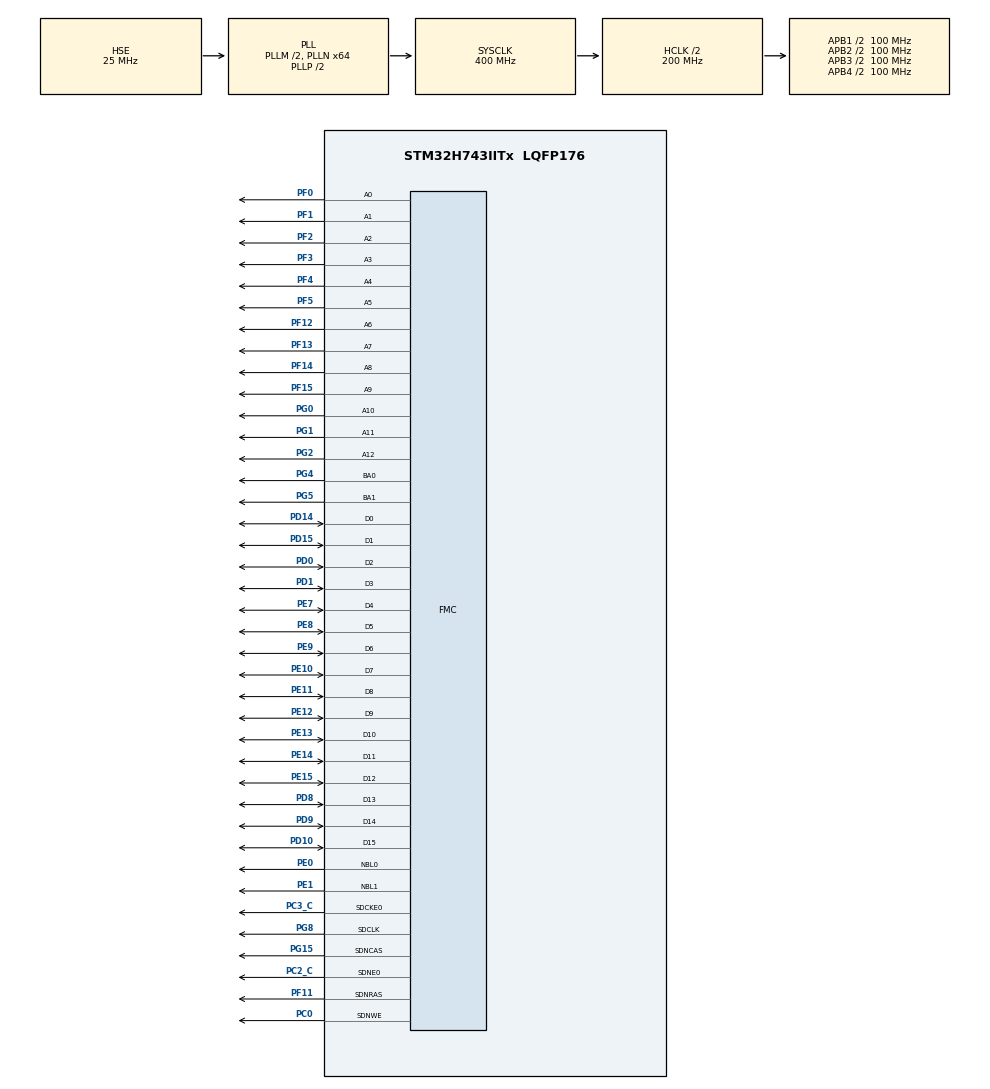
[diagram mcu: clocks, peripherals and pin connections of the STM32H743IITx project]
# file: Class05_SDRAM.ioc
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FMC.CASLatency1=FMC_SDRAM_CAS_LATENCY_2
FMC.ColumnBitsNumber1=FMC_SDRAM_COLUMN_BITS_NUM_9
FMC.ExitSelfRefreshDelay1=8
FMC.LoadToActiveDelay1=2
FMC.RCDDelay1=2
FMC.RPDelay1=2
FMC.RPDelay2=2
FMC.ReadBurst1=FMC_SDRAM_RBURST_ENABLE
FMC.ReadBurst2=FMC_SDRAM_RBURST_ENABLE
FMC.ReadPipeDelay1=FMC_SDRAM_RPIPE_DELAY_1
FMC.ReadPipeDelay2=FMC_SDRAM_RPIPE_DELAY_1
FMC.RowCycleDelay1=6
FMC.RowCycleDelay2=6
FMC.SDClockPeriod1=FMC_SDRAM_CLOCK_PERIOD_2
FMC.SDClockPeriod2=FMC_SDRAM_CLOCK_PERIOD_2
FMC.SelfRefreshTime1=6
FMC.WriteRecoveryTime1=4
Mcu.Family=STM32H7
Mcu.Name=STM32H743IITx
Mcu.Package=LQFP176
NVIC.PriorityGroup=NVIC_PRIORITYGROUP_4
PC0.Signal=FMC_SDNWE
PC14-OSC32_IN.Mode=LSE-External-Oscillator
PC14-OSC32_IN.Signal=RCC_OSC32_IN
PC15-OSC32_OUT.Mode=LSE-External-Oscillator
PC15-OSC32_OUT.Signal=RCC_OSC32_OUT
PC2_C.Mode=SdramChipSelect1_1
PC2_C.Signal=FMC_SDNE0
PC3_C.Mode=SdramChipSelect1_1
PC3_C.Signal=FMC_SDCKE0
PD0.Signal=FMC_D2_DA2
PD1.Signal=FMC_D3_DA3
PD10.Signal=FMC_D15_DA15
PD14.Signal=FMC_D0_DA0
PD15.Signal=FMC_D1_DA1
PD8.Signal=FMC_D13_DA13
PD9.Signal=FMC_D14_DA14
PE0.Signal=FMC_NBL0
PE1.Signal=FMC_NBL1
PE10.Signal=FMC_D7_DA7
PE11.Signal=FMC_D8_DA8
PE12.Signal=FMC_D9_DA9
PE13.Signal=FMC_D10_DA10
PE14.Signal=FMC_D11_DA11
PE15.Signal=FMC_D12_DA12
PE7.Signal=FMC_D4_DA4
PE8.Signal=FMC_D5_DA5
PE9.Signal=FMC_D6_DA6
PF0.Signal=FMC_A0
PF1.Signal=FMC_A1
PF11.Signal=FMC_SDNRAS
PF12.Signal=FMC_A6
PF13.Signal=FMC_A7
PF14.Signal=FMC_A8
PF15.Signal=FMC_A9
PF2.Signal=FMC_A2
PF3.Signal=FMC_A3
PF4.Signal=FMC_A4
PF5.Signal=FMC_A5
PG0.Signal=FMC_A10
PG1.Signal=FMC_A11
PG15.Signal=FMC_SDNCAS
PG2.Signal=FMC_A12
PG4.Signal=FMC_A14_BA0
PG5.Signal=FMC_A15_BA1
PG8.Signal=FMC_SDCLK
PH0-OSC_IN.Mode=HSE-External-Oscillator
PH0-OSC_IN.Signal=RCC_OSC_IN
PH1-OSC_OUT.Mode=HSE-External-Oscillator
PH1-OSC_OUT.Signal=RCC_OSC_OUT
ProjectManager.HeapSize=0x200
ProjectManager.StackSize=0x400
ProjectManager.TargetToolchain=MDK-ARM V5
RCC.ADCFreq_Value=50390625
RCC.APB1Freq_Value=100000000
RCC.APB2Freq_Value=100000000
RCC.APB3Freq_Value=100000000
RCC.APB4Freq_Value=100000000
RCC.CortexFreq_Value=400000000
RCC.D1PPRE=RCC_APB3_DIV2
RCC.D2PPRE1=RCC_APB1_DIV2
RCC.D2PPRE2=RCC_APB2_DIV2
RCC.D3PPRE=RCC_APB4_DIV2
RCC.DIVM1=2
RCC.DIVN1=64
RCC.HCLKFreq_Value=200000000
RCC.HPRE=RCC_HCLK_DIV2
RCC.PLLSourceVirtual=RCC_PLLSOURCE_HSE
RCC.SYSCLKFreq_VALUE=400000000
RCC.SYSCLKSource=RCC_SYSCLKSOURCE_PLLCLK
RCC.USBFreq_Value=400000000
SH.FMC_A0.0=FMC_A0,13b-sda1
SH.FMC_A1.0=FMC_A1,13b-sda1
SH.FMC_A10.0=FMC_A10,13b-sda1
SH.FMC_A11.0=FMC_A11,13b-sda1
SH.FMC_A12.0=FMC_A12,13b-sda1
SH.FMC_A14_BA0.0=FMC_BA0,FourSdramBanks1
SH.FMC_A15_BA1.0=FMC_BA1,FourSdramBanks1
SH.FMC_A2.0=FMC_A2,13b-sda1
SH.FMC_A3.0=FMC_A3,13b-sda1
SH.FMC_A4.0=FMC_A4,13b-sda1
SH.FMC_A5.0=FMC_A5,13b-sda1
SH.FMC_A6.0=FMC_A6,13b-sda1
SH.FMC_A7.0=FMC_A7,13b-sda1
SH.FMC_A8.0=FMC_A8,13b-sda1
SH.FMC_A9.0=FMC_A9,13b-sda1
SH.FMC_D0_DA0.0=FMC_D0,sd-16b-d1
SH.FMC_D10_DA10.0=FMC_D10,sd-16b-d1
SH.FMC_D11_DA11.0=FMC_D11,sd-16b-d1
SH.FMC_D12_DA12.0=FMC_D12,sd-16b-d1
SH.FMC_D13_DA13.0=FMC_D13,sd-16b-d1
SH.FMC_D14_DA14.0=FMC_D14,sd-16b-d1
SH.FMC_D15_DA15.0=FMC_D15,sd-16b-d1
SH.FMC_D1_DA1.0=FMC_D1,sd-16b-d1
SH.FMC_D2_DA2.0=FMC_D2,sd-16b-d1
SH.FMC_D3_DA3.0=FMC_D3,sd-16b-d1
SH.FMC_D4_DA4.0=FMC_D4,sd-16b-d1
SH.FMC_D5_DA5.0=FMC_D5,sd-16b-d1
SH.FMC_D6_DA6.0=FMC_D6,sd-16b-d1
SH.FMC_D7_DA7.0=FMC_D7,sd-16b-d1
SH.FMC_D8_DA8.0=FMC_D8,sd-16b-d1
SH.FMC_D9_DA9.0=FMC_D9,sd-16b-d1
SH.FMC_NBL0.0=FMC_NBL0,Sd2ByteEnable1
SH.FMC_NBL1.0=FMC_NBL1,Sd2ByteEnable1
SH.FMC_SDCLK.0=FMC_SDCLK,13b-sda1
SH.FMC_SDNCAS.0=FMC_SDNCAS,13b-sda1
SH.FMC_SDNRAS.0=FMC_SDNRAS,13b-sda1
SH.FMC_SDNWE.0=FMC_SDNWE,13b-sda1
board=custom

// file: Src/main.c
/**
  ******************************************************************************
  * @file           : main.c
  * @brief          : Main program body
  ******************************************************************************
  ** This notice applies to any and all portions of this file
  * that are not between comment pairs USER CODE BEGIN and
  * USER CODE END. Other portions of this file, whether
  * inserted by the user or by software development tools
  * are owned by their respective copyright owners.
  *
  * COPYRIGHT(c) 2018 STMicroelectronics
  *
  * Redistribution and use in source and binary forms, with or without modification,
  * are permitted provided that the following conditions are met:
  *   1. Redistributions of source code must retain the above copyright notice,
  *      this list of conditions and the following disclaimer.
  *   2. Redistributions in binary form must reproduce the above copyright notice,
  *      this list of conditions and the following disclaimer in the documentation
  *      and/or other materials provided with the distribution.
  *   3. Neither the name of STMicroelectronics nor the names of its contributors
  *      may be used to endorse or promote products derived from this software
  *      without specific prior written permission.
  *
  * THIS SOFTWARE IS PROVIDED BY THE COPYRIGHT HOLDERS AND CONTRIBUTORS "AS IS"
  * AND ANY EXPRESS OR IMPLIED WARRANTIES, INCLUDING, BUT NOT LIMITED TO, THE
  * IMPLIED WARRANTIES OF MERCHANTABILITY AND FITNESS FOR A PARTICULAR PURPOSE ARE
  * DISCLAIMED. IN NO EVENT SHALL THE COPYRIGHT HOLDER OR CONTRIBUTORS BE LIABLE
  * FOR ANY DIRECT, INDIRECT, INCIDENTAL, SPECIAL, EXEMPLARY, OR CONSEQUENTIAL
  * DAMAGES (INCLUDING, BUT NOT LIMITED TO, PROCUREMENT OF SUBSTITUTE GOODS OR
  * SERVICES; LOSS OF USE, DATA, OR PROFITS; OR BUSINESS INTERRUPTION) HOWEVER
  * CAUSED AND ON ANY THEORY OF LIABILITY, WHETHER IN CONTRACT, STRICT LIABILITY,
  * OR TORT (INCLUDING NEGLIGENCE OR OTHERWISE) ARISING IN ANY WAY OUT OF THE USE
  * OF THIS SOFTWARE, EVEN IF ADVISED OF THE POSSIBILITY OF SUCH DAMAGE.
  *
  ******************************************************************************
  */
#include "main.h"
#include "stm32h7xx_hal.h"

/* USER CODE BEGIN Includes */
#define Bank5_SDRAM_ADDR    ((unsigned int)(0XC0000000))
#define SDRAM_MODEREG_BURST_LENGTH_1             ((unsigned int)0x0000)
#define SDRAM_MODEREG_BURST_LENGTH_2             ((unsigned int)0x0001)
#define SDRAM_MODEREG_BURST_LENGTH_4             ((unsigned int)0x0002)
#define SDRAM_MODEREG_BURST_LENGTH_8             ((unsigned int)0x0004)
#define SDRAM_MODEREG_BURST_TYPE_SEQUENTIAL      ((unsigned int)0x0000)
#define SDRAM_MODEREG_BURST_TYPE_INTERLEAVED     ((unsigned int)0x0008)
#define SDRAM_MODEREG_CAS_LATENCY_2              ((unsigned int)0x0020)
#define SDRAM_MODEREG_CAS_LATENCY_3              ((unsigned int)0x0030)
#define SDRAM_MODEREG_OPERATING_MODE_STANDARD    ((unsigned int)0x0000)
#define SDRAM_MODEREG_WRITEBURST_MODE_PROGRAMMED ((unsigned int)0x0000)
#define SDRAM_MODEREG_WRITEBURST_MODE_SINGLE     ((unsigned int)0x0200)
/* USER CODE END Includes */

SDRAM_HandleTypeDef hsdram1;

/* USER CODE BEGIN PV */
/* Private variables ---------------------------------------------------------*/

/* USER CODE END PV */

void SystemClock_Config(void);
static void MX_GPIO_Init(void);
static void MX_FMC_Init(void);

/* USER CODE BEGIN PFP */
/* Private function prototypes -----------------------------------------------*/

/* USER CODE END PFP */

/* USER CODE BEGIN 0 */
unsigned char SDRAM_Send_Cmd(unsigned char bankx,unsigned char cmd,unsigned char refresh,unsigned int regval)
{
    unsigned int target_bank=0;
    FMC_SDRAM_CommandTypeDef Command;
    if(bankx==0) target_bank=FMC_SDRAM_CMD_TARGET_BANK1;
    else if(bankx==1) target_bank=FMC_SDRAM_CMD_TARGET_BANK2;
    Command.CommandMode=cmd;
    Command.CommandTarget=target_bank;
    Command.AutoRefreshNumber=refresh;
    Command.ModeRegisterDefinition=regval;
    if(HAL_SDRAM_SendCommand(&hsdram1,&Command,0XFFFF)==HAL_OK)
    {
        return 0;
    }
    else return 1;
}
void FMC_SDRAM_WriteBuffer(unsigned char *pBuffer,unsigned int WriteAddr,unsigned int n)
{
	for(;n!=0;n--)
	{
		*(unsigned char*)(Bank5_SDRAM_ADDR+WriteAddr)=*pBuffer;
		WriteAddr++;
		pBuffer++;
	}
}
void FMC_SDRAM_ReadBuffer(unsigned char *pBuffer,unsigned int ReadAddr,unsigned int n)
{
	for(;n!=0;n--)
	{
		*pBuffer++=*(unsigned char*)(Bank5_SDRAM_ADDR+ReadAddr);
		ReadAddr++;
	}
}
void SDRAM_Initialization_Sequence()
{
	unsigned int temp=0;
  SDRAM_Send_Cmd(0,FMC_SDRAM_CMD_CLK_ENABLE,1,0);
  HAL_Delay(1);
	SDRAM_Send_Cmd(0,FMC_SDRAM_CMD_PALL,1,0);
  SDRAM_Send_Cmd(0,FMC_SDRAM_CMD_AUTOREFRESH_MODE,8,0);
	temp=(unsigned int)SDRAM_MODEREG_BURST_LENGTH_1          |
              SDRAM_MODEREG_BURST_TYPE_SEQUENTIAL   |
              SDRAM_MODEREG_CAS_LATENCY_2           |
              SDRAM_MODEREG_OPERATING_MODE_STANDARD |
              SDRAM_MODEREG_WRITEBURST_MODE_SINGLE;
    SDRAM_Send_Cmd(0,FMC_SDRAM_CMD_LOAD_MODE,1,temp);

	HAL_SDRAM_ProgramRefreshRate(&hsdram1,677);
}
/* USER CODE END 0 */

int main(void)
{
  /* USER CODE BEGIN 1 */
	unsigned char data[100];
	unsigned long long i = (2 * 1024 *1024);
  /* USER CODE END 1 */

  /* MCU Configuration----------------------------------------------------------*/

  /* Reset of all peripherals, Initializes the Flash interface and the Systick. */
  HAL_Init();

  /* Configure the system clock */
  SystemClock_Config();

  /* Initialize all configured peripherals */
  MX_GPIO_Init();
  MX_FMC_Init();
  /* USER CODE BEGIN 2 */
	SDRAM_Initialization_Sequence();
	while(i--)
		FMC_SDRAM_WriteBuffer("1234567890abcdef",16*i,16);
	FMC_SDRAM_ReadBuffer(data,0,10);
  /* USER CODE END 2 */

  /* Infinite loop */
  while (1)
  {

  }

}

void SystemClock_Config(void)
{

  RCC_OscInitTypeDef RCC_OscInitStruct;
  RCC_ClkInitTypeDef RCC_ClkInitStruct;
  RCC_PeriphCLKInitTypeDef PeriphClkInitStruct;

    /**Supply configuration update enable
    */
  MODIFY_REG(PWR->CR3, PWR_CR3_SCUEN, 0);

    /**Configure the main internal regulator output voltage
    */
  __HAL_PWR_VOLTAGESCALING_CONFIG(PWR_REGULATOR_VOLTAGE_SCALE1);

  while ((PWR->D3CR & (PWR_D3CR_VOSRDY)) != PWR_D3CR_VOSRDY)
  {

  }
    /**Initializes the CPU, AHB and APB busses clocks
    */
  RCC_OscInitStruct.OscillatorType = RCC_OSCILLATORTYPE_HSE;
  RCC_OscInitStruct.HSEState = RCC_HSE_ON;
  RCC_OscInitStruct.PLL.PLLState = RCC_PLL_ON;
  RCC_OscInitStruct.PLL.PLLSource = RCC_PLLSOURCE_HSE;
  RCC_OscInitStruct.PLL.PLLM = 2;
  RCC_OscInitStruct.PLL.PLLN = 64;
  RCC_OscInitStruct.PLL.PLLP = 2;
  RCC_OscInitStruct.PLL.PLLQ = 2;
  RCC_OscInitStruct.PLL.PLLR = 2;
  RCC_OscInitStruct.PLL.PLLRGE = RCC_PLL1VCIRANGE_3;
  RCC_OscInitStruct.PLL.PLLVCOSEL = RCC_PLL1VCOWIDE;
  RCC_OscInitStruct.PLL.PLLFRACN = 0;
  if (HAL_RCC_OscConfig(&RCC_OscInitStruct) != HAL_OK)
  {
    _Error_Handler(__FILE__, __LINE__);
  }

    /**Initializes the CPU, AHB and APB busses clocks
    */
  RCC_ClkInitStruct.ClockType = RCC_CLOCKTYPE_HCLK|RCC_CLOCKTYPE_SYSCLK
                              |RCC_CLOCKTYPE_PCLK1|RCC_CLOCKTYPE_PCLK2
                              |RCC_CLOCKTYPE_D3PCLK1|RCC_CLOCKTYPE_D1PCLK1;
  RCC_ClkInitStruct.SYSCLKSource = RCC_SYSCLKSOURCE_PLLCLK;
  RCC_ClkInitStruct.SYSCLKDivider = RCC_SYSCLK_DIV1;
  RCC_ClkInitStruct.AHBCLKDivider = RCC_HCLK_DIV2;
  RCC_ClkInitStruct.APB3CLKDivider = RCC_APB3_DIV2;
  RCC_ClkInitStruct.APB1CLKDivider = RCC_APB1_DIV2;
  RCC_ClkInitStruct.APB2CLKDivider = RCC_APB2_DIV2;
  RCC_ClkInitStruct.APB4CLKDivider = RCC_APB4_DIV2;

  if (HAL_RCC_ClockConfig(&RCC_ClkInitStruct, FLASH_LATENCY_2) != HAL_OK)
  {
    _Error_Handler(__FILE__, __LINE__);
  }

  PeriphClkInitStruct.PeriphClockSelection = RCC_PERIPHCLK_FMC;
  PeriphClkInitStruct.FmcClockSelection = RCC_FMCCLKSOURCE_D1HCLK;
  if (HAL_RCCEx_PeriphCLKConfig(&PeriphClkInitStruct) != HAL_OK)
  {
    _Error_Handler(__FILE__, __LINE__);
  }

    /**Configure the Systick interrupt time
    */
  HAL_SYSTICK_Config(SystemCoreClock/1000);

    /**Configure the Systick
    */
  HAL_SYSTICK_CLKSourceConfig(SYSTICK_CLKSOURCE_HCLK);

  /* SysTick_IRQn interrupt configuration */
  HAL_NVIC_SetPriority(SysTick_IRQn, 0, 0);
}

/* FMC initialization function */
static void MX_FMC_Init(void)
{
  FMC_SDRAM_TimingTypeDef SdramTiming;

  /** Perform the SDRAM1 memory initialization sequence
  */
  hsdram1.Instance = FMC_SDRAM_DEVICE;
  /* hsdram1.Init */
  hsdram1.Init.SDBank = FMC_SDRAM_BANK1;
  hsdram1.Init.ColumnBitsNumber = FMC_SDRAM_COLUMN_BITS_NUM_9;
  hsdram1.Init.RowBitsNumber = FMC_SDRAM_ROW_BITS_NUM_13;
  hsdram1.Init.MemoryDataWidth = FMC_SDRAM_MEM_BUS_WIDTH_16;
  hsdram1.Init.InternalBankNumber = FMC_SDRAM_INTERN_BANKS_NUM_4;
  hsdram1.Init.CASLatency = FMC_SDRAM_CAS_LATENCY_2;
  hsdram1.Init.WriteProtection = FMC_SDRAM_WRITE_PROTECTION_DISABLE;
  hsdram1.Init.SDClockPeriod = FMC_SDRAM_CLOCK_PERIOD_2;
  hsdram1.Init.ReadBurst = FMC_SDRAM_RBURST_ENABLE;
  hsdram1.Init.ReadPipeDelay = FMC_SDRAM_RPIPE_DELAY_1;
  /* SdramTiming */
  SdramTiming.LoadToActiveDelay = 2;
  SdramTiming.ExitSelfRefreshDelay = 8;
  SdramTiming.SelfRefreshTime = 6;
  SdramTiming.RowCycleDelay = 6;
  SdramTiming.WriteRecoveryTime = 4;
  SdramTiming.RPDelay = 2;
  SdramTiming.RCDDelay = 2;

  if (HAL_SDRAM_Init(&hsdram1, &SdramTiming) != HAL_OK)
  {
    _Error_Handler(__FILE__, __LINE__);
  }

}

/** Configure pins as
        * Analog
        * Input
        * Output
        * EVENT_OUT
        * EXTI
*/
static void MX_GPIO_Init(void)
{

  /* GPIO Ports Clock Enable */
  __HAL_RCC_GPIOC_CLK_ENABLE();
  __HAL_RCC_GPIOF_CLK_ENABLE();
  __HAL_RCC_GPIOH_CLK_ENABLE();
  __HAL_RCC_GPIOG_CLK_ENABLE();
  __HAL_RCC_GPIOE_CLK_ENABLE();
  __HAL_RCC_GPIOD_CLK_ENABLE();

}

void _Error_Handler(char *file, int line)
{
  while(1)
  {
  }
}

/************************ (C) COPYRIGHT STMicroelectronics *****END OF FILE****/
